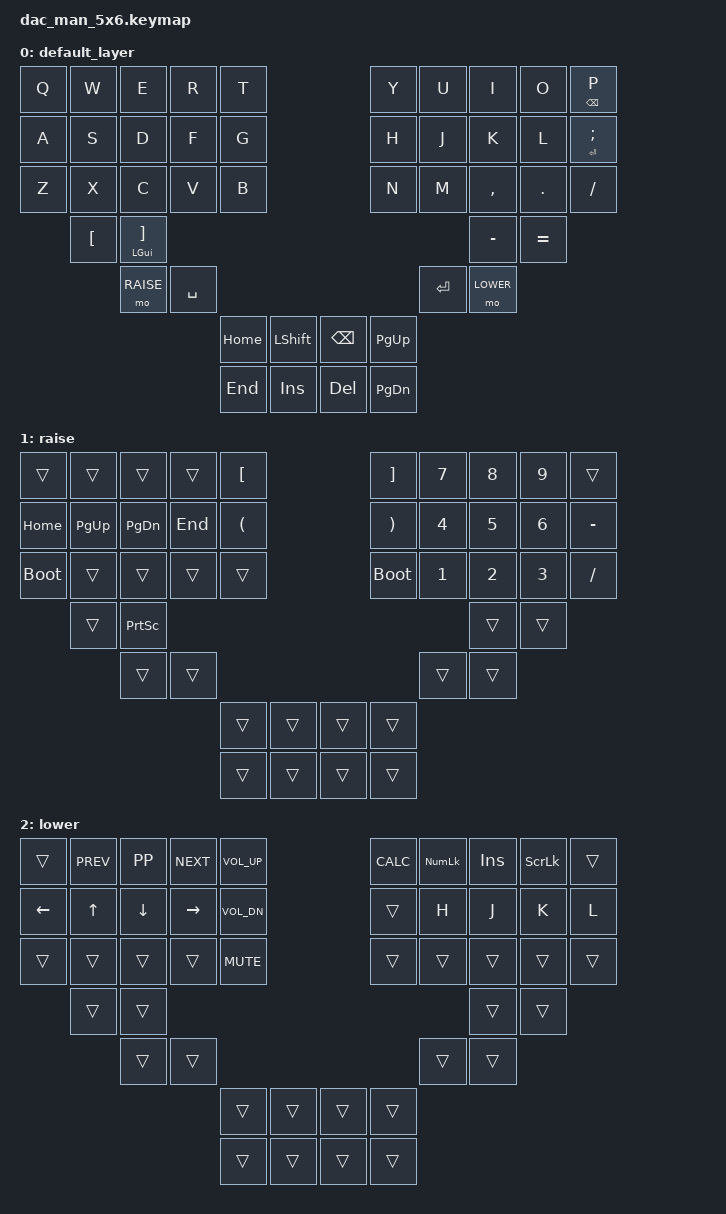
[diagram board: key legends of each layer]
#include <behaviors.dtsi>
#include <dt-bindings/zmk/keys.h>
#include <dt-bindings/zmk/bt.h>

#define DEFAULT 0
#define RAISE   1
#define LOWER   2

/ {
    keymap {
        compatible = "zmk,keymap";

        default_layer {
// Commented layout is not actual layout.
// -------------------------------------------------------------------------------------------------------------------------
// |   ESC   |    1    |    2    |    3    |    4    |    5    |                   |    6    |    7    |    8    |    9    |    0    |  BSPC   |
// |   TAB   |    Q    |    W    |    E    |    R    |    T    |                   |    Y    |    U    |    I    |    O    |    P    |    \    |
// |  LALT   |    A    |    S    |    D    |    F    |    G    |                   |    H    |    J    |    K    |    L    |    ;    |    '    |
// |  LCTRL  |    Z    |    X    |    C    |    V    |    B    |                   |    N    |    M    |    ,    |    .    |    /    |  RALT   |
//                     |    [    |    ]    |                                                           |    -    |    =    |
//                               | MO lay 1| SPACE   |                   | ENTER   | MO lay 2|
//                                         |   TAB   |   HOME  |   END   |   DEL   |
//                                         |  Raise  |    ~    |   GUI   |  Lower  |
            bindings = <
&kp Q      &kp W     &kp E      &kp R      &kp T                           &kp Y      &kp U      &kp I      &kp O      &mt BSPC P          
&kp A      &kp S     &kp D      &kp F      &kp G                           &kp H      &kp J      &kp K      &kp L      &mt ENTER SEMI  
&kp Z      &kp X     &kp C      &kp V      &kp B                           &kp N      &kp M      &kp COMMA  &kp DOT    &kp FSLH       
           &kp LBKT  &mt LGUI RBKT                                                               &kp MINUS  &kp EQUAL
                     &mo RAISE  &kp SPACE                                             &kp ENTER   &mo LOWER
                                              &kp HOME &kp LSHIFT   &kp BSPC    &kp PG_UP
                                              &kp END  &kp INS      &kp DEL     &kp PG_DN
        >;
    };








        raise {
            bindings = <

&trans     &trans    &trans     &trans     &kp LBKT                        &kp RBKT      &kp 7      &kp 8      &kp 9      &trans
&kp HOME   &kp PG_UP &kp PG_DN  &kp END    &kp LPAR                        &kp RPAR      &kp 4      &kp 5      &kp 6      &kp MINUS
&bootloader     &trans    &trans     &trans     &trans                          &bootloader   &kp 1      &kp 2      &kp 3      &kp FSLH
           &trans    &kp PSCRN                                                                      &trans     &trans
                                     &trans     &trans                          &trans        &trans
                                                &trans &trans            &trans &trans
                                                &trans &trans            &trans &trans
            >;
        };







        lower {
            bindings = <
&trans     &kp K_PREV &kp K_PP   &kp K_NEXT &kp C_VOL_UP                    &kp K_CALC &kp KP_NUM &kp INS    &kp SLCK   &trans      
&kp LEFT   &kp UP     &kp DOWN   &kp RIGHT  &kp C_VOL_DN                    &trans     &kp H      &kp J      &kp K      &kp L       
&trans     &trans     &trans     &trans     &kp C_MUTE                      &trans     &trans     &trans     &trans     &trans      
           &trans  &trans                                                              &trans     &trans
                                     &trans  &trans                 &trans   &trans
                                              &trans &trans   &trans    &trans
                                              &trans &trans   &trans    &trans
            >;
        };
   };
};
